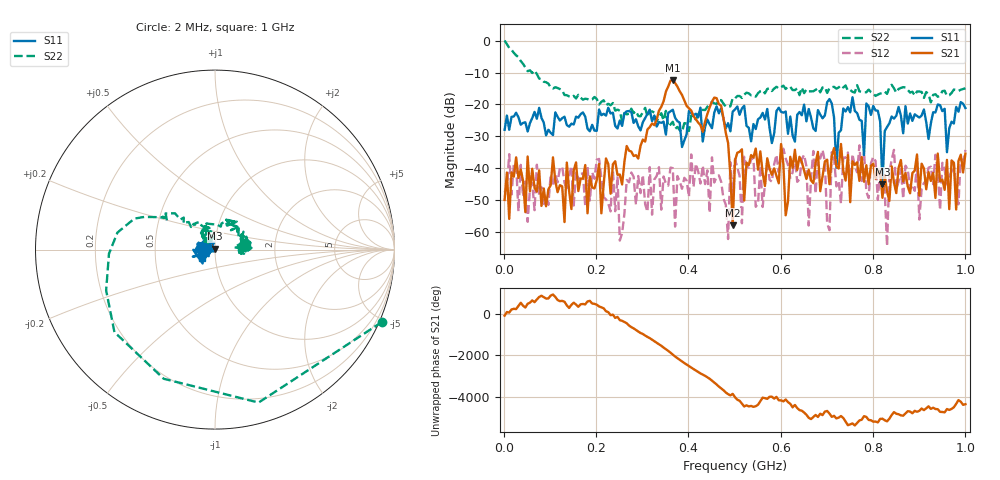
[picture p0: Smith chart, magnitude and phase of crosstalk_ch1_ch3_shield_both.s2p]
!Keysight Technologies N9923A: A.12.45
!Date: Friday, 10 October 2025 03:09:15
!Timezone: (UTC+08:00) Kuala Lumpur, Singapore
!Model: N9923A
!Serial: MY61181427
!GPS Latitude:
!GPS Longitude:
!GPS TimeStamp: 0001-01-01 00:00:00Z
!GPS Seconds Since Last Read: 0
!CHECKSUM:1372348593
!Correction: S11(ON U?)S21(ON U?)S12(ON U?)S22(ON U?)
!S2P File: Measurements:S11,S21,S12,S22:
# Hz S DB R 50
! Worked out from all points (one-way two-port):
!   201 points, 2 MHz to 1 GHz, reference 50 ohm
!   highest |S21| = -12.31 dB at 366.3 MHz (marker M1); lowest = -58.0 dB at 496 MHz (marker M2)
!   lowest |S11| = -45.1 dB at 820.4 MHz (marker M3), VSWR 1.01, Z = 50.1 + j0.553 ohm
!   |S11| at or under -10 dB: start of sweep to end of sweep
!   |S22| runs from -28.7 to 0.1 dB; largest |S21 - S12| = 0.24
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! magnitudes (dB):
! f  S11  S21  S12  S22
! 2 MHz  -28.0  -50.0  -47.7  0.1
! 171.7 MHz  -22.5  -43.3  -41.7  -18.5
! 246.5 MHz  -27.6  -42.2  -42.6  -21.6
! 251.5 MHz  -25.1  -42.0  -62.8  -22.0
! 336.3 MHz  -25.6  -22.0  -39.7  -23.9
! 366.3 MHz  -21.7  -12.3  -40.0  -25.5
! 471.1 MHz  -21.1  -20.4  -44.3  -18.7
! 496 MHz  -22.3  -58.0  -49.1  -18.0
! 501 MHz  -21.6  -37.7  -37.2  -18.1
! 516 MHz  -21.3  -34.1  -57.4  -18.0
! 521 MHz  -20.4  -50.2  -36.5  -17.0
! 650.7 MHz  -20.1  -40.8  -35.9  -16.5
! 660.7 MHz  -21.5  -40.6  -58.1  -15.9
! 670.7 MHz  -27.5  -44.8  -34.7  -15.9
! 705.6 MHz  -18.3  -45.1  -59.6  -14.9
! 710.6 MHz  -19.7  -36.3  -35.0  -14.6
! 720.6 MHz  -39.9  -39.5  -45.8  -15.0
! 810.4 MHz  -22.0  -40.8  -50.0  -16.9
! 820.4 MHz  -45.1  -49.4  -42.7  -16.5
! 830.3 MHz  -27.1  -47.4  -64.6  -16.7
! 835.3 MHz  -25.9  -50.4  -41.2  -14.7
! 1 GHz  -21.1  -35.5  -34.3  -14.9
